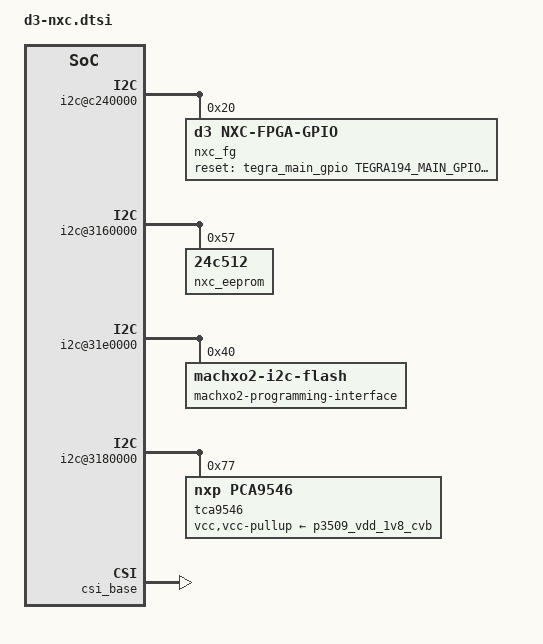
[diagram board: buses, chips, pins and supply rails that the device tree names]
/*
 * Copyright (c) 2020, D3 Engineering.	All rights reserved.
 *
 * This program is free software; you can redistribute it and/or modify
 * it under the terms of the GNU General Public License as published by
 * the Free Software Foundation; version 2 of the License.
 *
 * This program is distributed in the hope that it will be useful, but WITHOUT
 * ANY WARRANTY; without even the implied warranty of MERCHANTABILITY or
 * FITNESS FOR A PARTICULAR PURPOSE.  See the GNU General Public License for
 * more details.
 */

#include "../nvidia/platform/t19x/jakku/tegra194-p3668-all-p3509-0000.dts"

/ {
	i2c@c240000 {
		nxc_fg: nxc-fpga-gpio@20 {
			compatible = "d3,nxc-fpga-gpio";
			status = "okay";
			reg = <0x20>;
			reset-gpio = <&tegra_main_gpio TEGRA194_MAIN_GPIO(S,0) GPIO_ACTIVE_LOW>;
			gpio-controller;
			#gpio-cells = <2>;
		};
	};

	i2c@3160000 {
		nxc_eeprom: microchip-24fc512@57 {
			compatible = "24c512";
			statis = "okay";
			reg = <0x57>;
		};
	};

	i2c@31e0000 {
		/* FPGA LCMX02 Programming Interface (U42) */
		machxo2-programming-interface@40 {
			compatible = "machxo2-i2c-flash";
			status = "okay";
			reg = <0x40>;

			/* Flash memory sizes in units of 16-byte pages.
			Found in MachX02ProgrammingAndConfigurationUsageGuide.pdf,
			Advanced Configuration Information / Flash Programming */
			section-size-config = <5758>;
			section-size-ufm = <767>;
			section-erase-time-config = <3100>;
			section-erase-time-ufm = <1000>;
			trefresh-time = <3>;
		};
	};

	i2c@3180000 {
		tca9546@77 {
			status = "okay";
			compatible = "nxp,pca9546";
			reg = <0x77>;
			#address-cells = <1>;
			#size-cells = <0>;
			vcc-supply = <&p3509_vdd_1v8_cvb>;
			vcc-pullup-supply = <&p3509_vdd_1v8_cvb>;

			i2c_mux_bus_0: i2c@0 {
				status = "okay";
				reg = <0>;
				#address-cells = <1>;
				#size-cells = <0>;
				i2c-mux,deselect-on-exit;

			};

			i2c_mux_bus_1: i2c@1 {
				status = "okay";
				reg = <1>;
				#address-cells = <1>;
				#size-cells = <0>;
				i2c-mux,deselect-on-exit;
			};

			i2c_mux_bus_2: i2c@2 {
				status = "okay";
				reg = <2>;
				#address-cells = <1>;
				#size-cells = <0>;
				i2c-mux,deselect-on-exit;
			};

			i2c_mux_bus_3: i2c@3 {
				status = "okay";
				reg = <3>;
				#address-cells = <1>;
				#size-cells = <0>;
				i2c-mux,deselect-on-exit;
			};
		};
	};
	host1x {
		vi_base: vi@15c10000 {
			status = "okay";
			vi_ports: ports {
				#address-cells = <1>;
				#size-cells = <0>;
				/* ports will be included here */
			};
		};

		csi_base: nvcsi@15a00000 {
			status = "okay";
			/* channels will be included here */
		};
	};

	camera_platform: tegra-camera-platform {
		num_csi_lanes = <12>;
		max_lane_speed = <1500000>;
	};
};

/* Disable hdmi output. Yes, sor1 is on head0 */

&head0 {
	status = "disabled";
};

&sor1_hdmi_display {
	status = "disabled";
};

&sor1 {
	status = "disabled";
};
